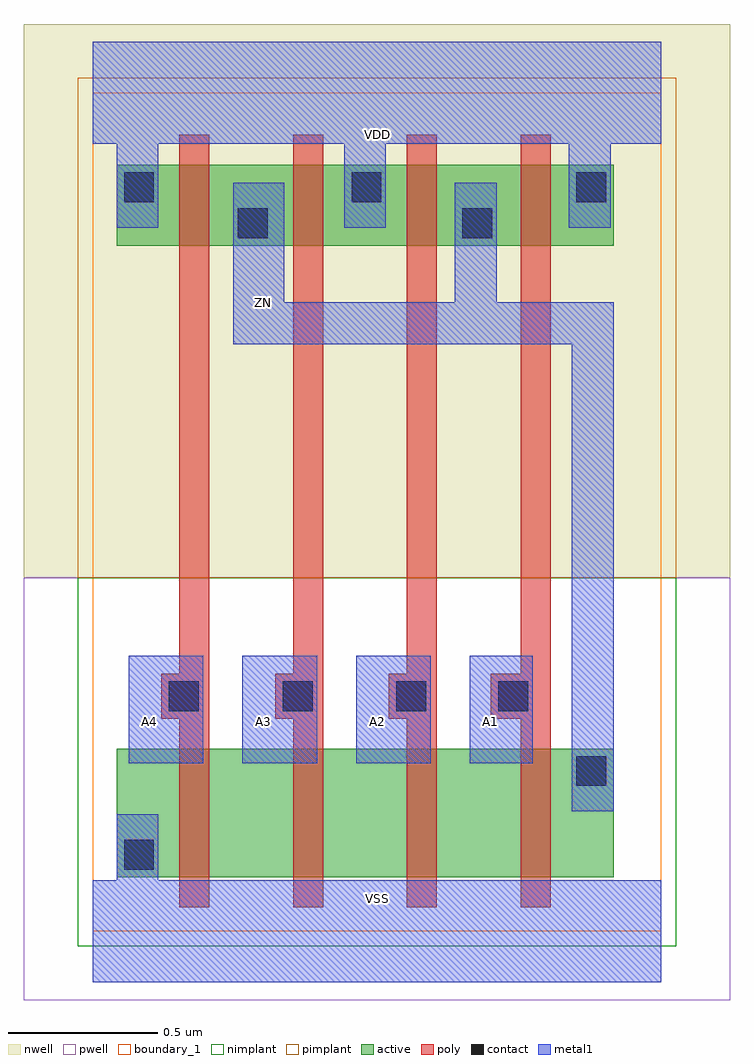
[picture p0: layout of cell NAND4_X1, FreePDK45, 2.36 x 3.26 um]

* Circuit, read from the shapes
.subckt NAND4_X1 A1 A2 A3 A4 VDD VSS ZN
M1 n1 A4 VSS VSUBS nfet w=0.43u l=0.1u
M2 n2 A3 n1 VSUBS nfet w=0.43u l=0.1u
M3 n3 A2 n2 VSUBS nfet w=0.43u l=0.1u
M4 ZN A1 n3 VSUBS nfet w=0.43u l=0.1u
M5 ZN A4 VDD n4 pfet w=0.27u l=0.1u
M6 VDD A3 ZN n4 pfet w=0.27u l=0.1u
M7 ZN A2 VDD n4 pfet w=0.27u l=0.1u
M8 VDD A1 ZN n4 pfet w=0.27u l=0.1u
.ends

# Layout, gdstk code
import gdstk
lib = gdstk.Library(unit=1e-6, precision=1e-09)
def R(c, l, rs):  # rectangles x0, y0, x1, y1
    for r in rs: c.add(gdstk.rectangle(r[:2], r[2:], *l))
def A(c, l, x, y, w, h, nx, ny, dx, dy):  # array of equal rectangles
    R(c, l, [(x+i*dx, y+j*dy, x+i*dx+w, y+j*dy+h) for i in range(nx) for j in range(ny)])
def P(c, l, *ps):  # polygons
    for p in ps: c.add(gdstk.Polygon(p, *l))
active = (1, 0)
pwell = (2, 0)
nwell = (3, 0)
nimplant = (4, 0)
pimplant = (5, 0)
poly = (9, 0)
contact = (10, 0)
metal1 = (11, 0)
boundary_1 = (235, 1)

nand4_x1 = lib.new_cell('NAND4_X1')
R(nand4_x1, active, [(0.08,0.18,1.74,0.61), (0.08,2.29,1.74,2.56)])
R(nand4_x1, pwell, [(-0.23,-0.23,2.13,1.18)])
R(nand4_x1, nwell, [(-0.23,1.18,2.13,3.03)])
R(nand4_x1, nimplant, [(-0.05,-0.05,1.95,1.18)])
R(nand4_x1, pimplant, [(-0.05,1.18,1.95,2.85)])
P(nand4_x1, poly, [(1.33,0.71),(1.43,0.71),(1.43,0.08),(1.53,0.08),(1.53,2.66),(1.43,2.66),(1.43,0.86),(1.33,0.86)],
  [(0.99,0.71),(1.05,0.71),(1.05,0.08),(1.15,0.08),(1.15,2.66),(1.05,2.66),(1.05,0.86),(0.99,0.86)],
  [(0.61,0.71),(0.67,0.71),(0.67,0.08),(0.77,0.08),(0.77,2.66),(0.67,2.66),(0.67,0.86),(0.61,0.86)],
  [(0.23,0.71),(0.29,0.71),(0.29,0.08),(0.39,0.08),(0.39,2.66),(0.29,2.66),(0.29,0.86),(0.23,0.86)])
A(nand4_x1, contact, 0.255, 0.735, 0.1, 0.1, 3, 1, 0.38, 0)
R(nand4_x1, contact, [(0.105,0.205,0.205,0.305), (1.615,0.485,1.715,0.585), (1.355,0.735,1.455,0.835), (0.485,2.315,0.585,2.415), (1.235,2.315,1.335,2.415), (0.105,2.435,0.205,2.535), (0.865,2.435,0.965,2.535), (1.615,2.435,1.715,2.535)])
R(nand4_x1, metal1, [(0.12,0.56,0.37,0.92), (0.12,0.56,0.37,0.92), (0.5,0.56,0.75,0.92), (0.5,0.56,0.75,0.92), (0.88,0.56,1.13,0.92), (0.88,0.56,1.13,0.92), (1.26,0.56,1.47,0.92), (1.26,0.56,1.47,0.92)])
P(nand4_x1, metal1, [(0.47,1.96),(1.6,1.96),(1.6,0.4),(1.74,0.4),(1.74,2.1),(1.35,2.1),(1.35,2.5),(1.21,2.5),(1.21,2.1),(0.64,2.1),(0.64,2.5),(0.47,2.5)],
  [(0,-0.17),(1.9,-0.17),(1.9,0.17),(0.22,0.17),(0.22,0.39),(0.08,0.39),(0.08,0.17),(0,0.17)],
  [(0,2.63),(0.08,2.63),(0.08,2.35),(0.22,2.35),(0.22,2.63),(0.84,2.63),(0.84,2.35),(0.98,2.35),(0.98,2.63),(1.59,2.63),(1.59,2.35),(1.73,2.35),(1.73,2.63),(1.9,2.63),(1.9,2.97),(0,2.97)],
  [(0,2.63),(0.08,2.63),(0.08,2.35),(0.22,2.35),(0.22,2.63),(0.84,2.63),(0.84,2.35),(0.98,2.35),(0.98,2.63),(1.59,2.63),(1.59,2.35),(1.73,2.35),(1.73,2.63),(1.9,2.63),(1.9,2.97),(0,2.97)],
  [(0,-0.17),(1.9,-0.17),(1.9,0.17),(0.22,0.17),(0.22,0.39),(0.08,0.39),(0.08,0.17),(0,0.17)],
  [(0.47,1.96),(1.6,1.96),(1.6,0.4),(1.74,0.4),(1.74,2.1),(1.35,2.1),(1.35,2.5),(1.21,2.5),(1.21,2.1),(0.64,2.1),(0.64,2.5),(0.47,2.5)])
R(nand4_x1, boundary_1, [(0,0,1.9,2.8)])
nand4_x1.add(gdstk.Label('ZN', (0.57,2.1), layer=11, texttype=0))
nand4_x1.add(gdstk.Label('VSS', (0.95,0.11), layer=11, texttype=0))
nand4_x1.add(gdstk.Label('VDD', (0.95,2.66), layer=11, texttype=0))
nand4_x1.add(gdstk.Label('A4', (0.19,0.7), layer=11, texttype=0))
nand4_x1.add(gdstk.Label('A3', (0.57,0.7), layer=11, texttype=0))
nand4_x1.add(gdstk.Label('A2', (0.95,0.7), layer=11, texttype=0))
nand4_x1.add(gdstk.Label('A1', (1.33,0.7), layer=11, texttype=0))

lib.write_gds('NAND4_X1.gds')
